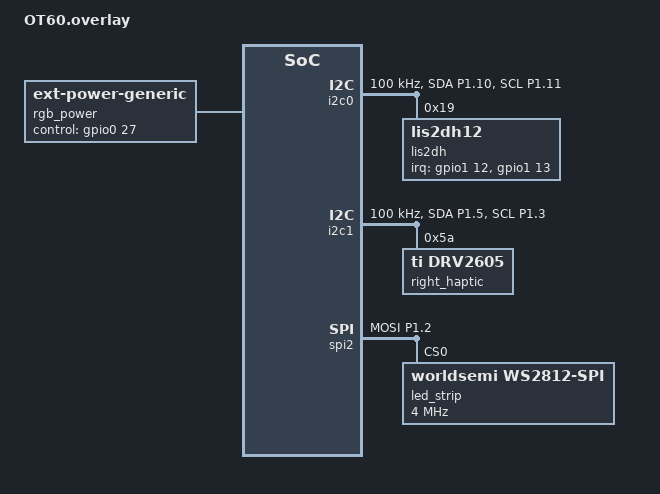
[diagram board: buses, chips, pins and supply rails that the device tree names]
/* Copyright (c) 2026 Team PHDesign
 * SPDX-License-Identifier: MIT
 */
#include "OT60.dtsi"
#include <dt-bindings/led/led.h>

&pinctrl {
    ot60_spi2_default: ot60_spi2_default {
        group1 {
            // WS2812 uses MOSI only. P1.03 is U7 SCL1 and must not be used as SCK.
            psels = <NRF_PSEL(SPIM_MOSI, 1, 2) NRF_PSEL_DISCONNECTED(SPIM_SCK)>;
        };
    };
    ot60_spi2_sleep: ot60_spi2_sleep {
        group1 {
            psels = <NRF_PSEL(SPIM_MOSI, 1, 2) NRF_PSEL_DISCONNECTED(SPIM_SCK)>;
            low-power-enable;
        };
    };
    ot60_i2c0_default: ot60_i2c0_default {
        group1 { psels = <NRF_PSEL(TWIM_SDA, 1, 10) NRF_PSEL(TWIM_SCL, 1, 11)>; };
    };
    ot60_i2c0_sleep: ot60_i2c0_sleep {
        group1 {
            psels = <NRF_PSEL(TWIM_SDA, 1, 10) NRF_PSEL(TWIM_SCL, 1, 11)>;
            low-power-enable;
        };
    };
    ot60_i2c1_default: ot60_i2c1_default {
        group1 { psels = <NRF_PSEL(TWIM_SDA, 1, 5) NRF_PSEL(TWIM_SCL, 1, 3)>; };
    };
    ot60_i2c1_sleep: ot60_i2c1_sleep {
        group1 {
            psels = <NRF_PSEL(TWIM_SDA, 1, 5) NRF_PSEL(TWIM_SCL, 1, 3)>;
            low-power-enable;
        };
    };
};

&i2c0 {
    compatible = "nordic,nrf-twim";
    status = "okay";
    clock-frequency = <100000>;
    pinctrl-0 = <&ot60_i2c0_default>;
    pinctrl-1 = <&ot60_i2c0_sleep>;
    pinctrl-names = "default", "sleep";
    lis2dh: lis2dh@19 {
        compatible = "zmk,lis2dh12", "zmk,lis2dh";
        reg = <0x19>;
        irq-gpios = <&gpio1 12 GPIO_ACTIVE_HIGH>, <&gpio1 13 GPIO_ACTIVE_HIGH>;
        anym-mode = <1>;
        anym-no-latch;
    };
    // U6 at 0x5A shares this bus but is deliberately not instantiated.
};

&i2c1 {
    compatible = "nordic,nrf-twim";
    status = "okay";
    clock-frequency = <100000>;
    pinctrl-0 = <&ot60_i2c1_default>;
    pinctrl-1 = <&ot60_i2c1_sleep>;
    pinctrl-names = "default", "sleep";
    right_haptic: haptic@5a {
        compatible = "ti,drv2605";
        reg = <0x5a>;
        // User confirmed: same OnePlus 12 CSA+ 0916 Turbo actuator as the reference project.
        actuator-mode = "LRA";
        loop-gain = "HIGH";
        feedback-brake-factor = "3X";
        vib-frequency-hz = <125>;
        vib-rated-mv = <1000>;
        vib-overdrive-mv = <1800>;
        lra-blanking-time = <5>;
        lra-idiss-time = <5>;
        auto-cal-time = <3>;
        // EN is hardwired to VDD, IN/TRIG to GND. Use I2C internal triggering only.
    };
};

&spi2 {
    compatible = "nordic,nrf-spim";
    status = "okay";
    pinctrl-0 = <&ot60_spi2_default>;
    pinctrl-1 = <&ot60_spi2_sleep>;
    pinctrl-names = "default", "sleep";
    led_strip: ws2812@0 {
        compatible = "worldsemi,ws2812-spi";
        reg = <0>;
        spi-max-frequency = <4000000>;
        chain-length = <8>;
        spi-one-frame = <0x70>;
        spi-zero-frame = <0x40>;
        color-mapping = <LED_COLOR_ID_GREEN LED_COLOR_ID_RED LED_COLOR_ID_BLUE>;
    };
};
/ {
    chosen {
        zmk,imu = &lis2dh;
        zmk,underglow = &led_strip;
        zmk,ext-power = &rgb_power;
    };
    rgb_power: ext-power {
        compatible = "zmk,ext-power-generic";
        status = "okay";
        init-delay-ms = <50>;
        control-gpios = <&gpio0 27 GPIO_ACTIVE_HIGH>;
    };
};
